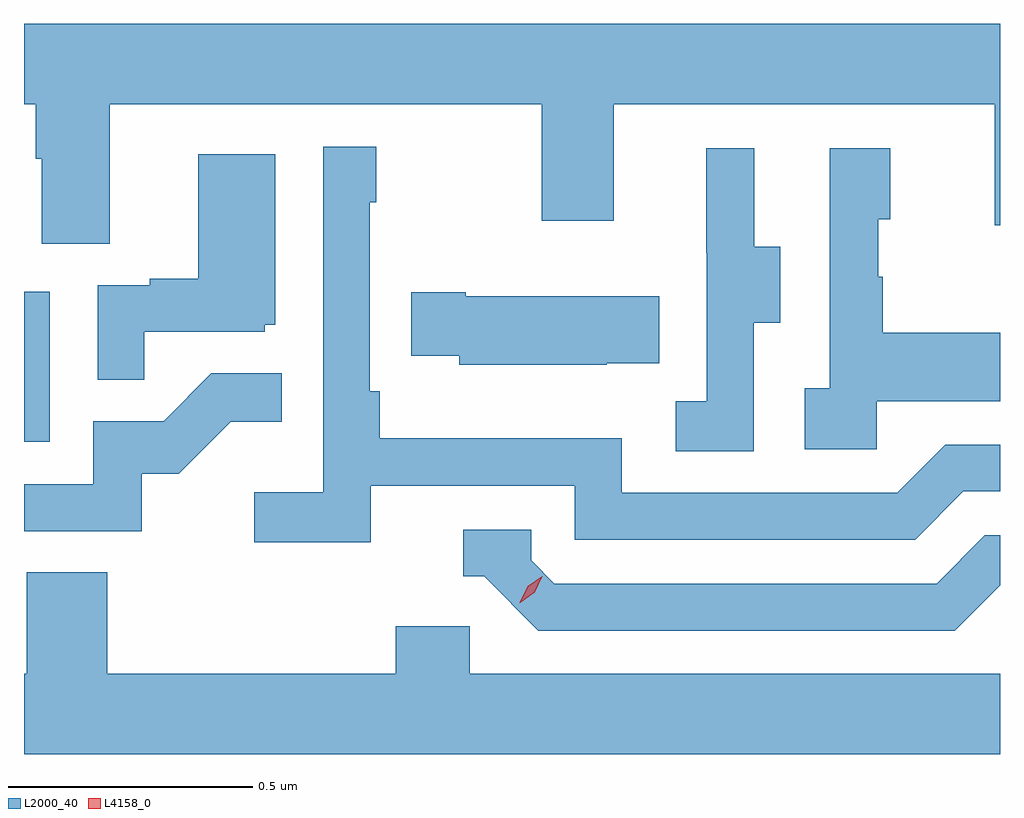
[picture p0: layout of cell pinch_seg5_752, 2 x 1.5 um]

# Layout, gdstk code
import gdstk
lib = gdstk.Library(unit=1e-6, precision=1e-09)
def R(c, l, rs):  # rectangles x0, y0, x1, y1
    for r in rs: c.add(gdstk.rectangle(r[:2], r[2:], *l))
def P(c, l, *ps):  # polygons
    for p in ps: c.add(gdstk.Polygon(p, *l))
L2000_40 = (2000, 40)
L4158_0 = (4158, 0)

pinch_seg5_752 = lib.new_cell('pinch_seg5_752')
R(pinch_seg5_752, L2000_40, [(862.955,896.028,863.008,896.335)])
P(pinch_seg5_752, L2000_40, [(862.955,896.72),(862.979,896.72),(862.979,896.608),(862.991,896.608),(862.991,896.434),(863.131,896.434),(863.131,896.72),(864.016,896.72),(864.016,896.481),(864.163,896.481),(864.163,896.72),(864.944,896.72),(864.944,896.472),(864.955,896.472),(864.955,896.884),(862.955,896.884)],
  [(863.666,895.938),(864.084,895.938),(864.084,895.827),(864.781,895.827),(864.88,895.926),(864.955,895.926),(864.955,896.022),(864.843,896.022),(864.744,895.923),(864.18,895.923),(864.18,896.035),(863.684,896.035),(863.684,896.131),(863.664,896.131),(863.664,896.519),(863.677,896.519),(863.677,896.632),(863.568,896.632),(863.568,895.924),(863.427,895.924),(863.427,895.822),(863.666,895.822)],
  [(864.702,896.111),(864.955,896.111),(864.955,896.251),(864.715,896.251),(864.715,896.366),(864.705,896.366),(864.705,896.484),(864.73,896.484),(864.73,896.629),(864.606,896.629),(864.606,896.138),(864.555,896.138),(864.555,896.013),(864.702,896.013)],
  [(864.45,896.272),(864.505,896.272),(864.505,896.427),(864.451,896.427),(864.451,896.629),(864.353,896.629),(864.353,896.415),(864.354,896.415),(864.354,896.111),(864.291,896.111),(864.291,896.008),(864.45,896.008)],
  [(863.201,896.253),(863.448,896.253),(863.448,896.268),(863.47,896.268),(863.47,896.617),(863.312,896.617),(863.312,896.362),(863.213,896.362),(863.213,896.349),(863.106,896.349),(863.106,896.155),(863.201,896.155)],
  [(864.149,896.189),(864.257,896.189),(864.257,896.326),(863.86,896.326),(863.86,896.334),(863.749,896.334),(863.749,896.204),(863.847,896.204),(863.847,896.186),(864.149,896.186)],
  [(863.196,895.962),(863.272,895.962),(863.379,896.069),(863.483,896.069),(863.483,896.168),(863.339,896.168),(863.241,896.07),(863.097,896.07),(863.097,895.941),(862.955,895.941),(862.955,895.845),(863.196,895.845)],
  [(864.955,895.734),(864.955,895.836),(864.924,895.836),(864.825,895.737),(864.042,895.737),(863.994,895.785),(863.994,895.848),(863.855,895.848),(863.855,895.752),(863.898,895.752),(864.009,895.641),(864.862,895.641)],
  [(864.955,895.552),(863.868,895.552),(863.868,895.65),(863.717,895.65),(863.717,895.552),(863.126,895.552),(863.126,895.76),(862.961,895.76),(862.961,895.552),(862.955,895.552),(862.955,895.388),(864.955,895.388)])
P(pinch_seg5_752, L4158_0, [(863.971,895.698),(863.971,895.699),(863.987,895.732),(864.017,895.752),(864.017,895.752),(864.017,895.752),(864.002,895.719),(863.972,895.698)])

lib.write_gds('pinch_seg5_752.gds')
